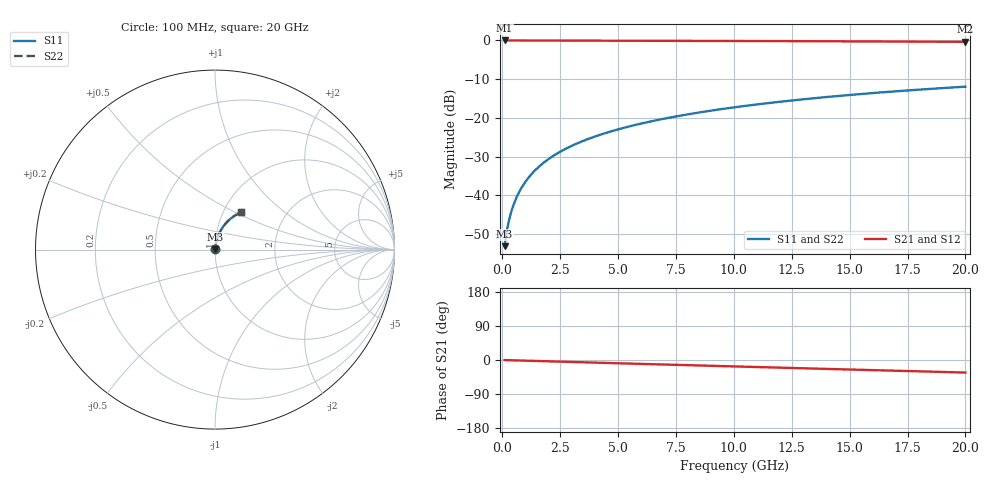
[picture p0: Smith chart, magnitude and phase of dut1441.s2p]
! Touchstone file exported from HFSS 2026.1.0
!  File:  C:/ffzhzh/LocalFiles/Ansys_Project_Files/temp_train_TMRDL_1441_1783167033_22436.aedt
!  Generated:  08:11:50 PM Jul  4, 2026
!  Design:  TMRDL
!  Project:  temp_train_TMRDL_1441_1783167033_22436
! Variables:
!  h_bsmrdl = 2um
!  h_ox = 20um
!  h_rdl = 5um
!  h_sub = 80um
!  h_tmrdl = 5.53um
!  h_tsv = 80um
!  h_via = 3um
!  l_bsmrdl = 300um
!  l_sub = 906.97um
!  l_tmrdl = 506.97um
!  m_sub = 200um
!  pitch = 46.92um
!  r_tsv = 6um
!  s_tmrdl = 10um
!  w_bsmrdl = 18um
!  w_sub = 500um
!  w_tmrdl = 25.4um
!  x_tsv_center1 = 519.67um
!  x_tsv_center2 = 837.67um
!  x_tsv_center3 = 1370.04um
!  x_tsv_center4 = 1688.04um
!  x_tsv_center5 = 2220.41um
!  x_tsv_center6 = 2538.41um
# GHz S MA R 50.000000
! Terminal data exported
! Port[1] = TM_RDL1_1_T1
! Port[2] = TM_RDL1_1_T2
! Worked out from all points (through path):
!   200 points, 100 MHz to 20 GHz, reference 50 ohm
!   highest |S21| = -0.01 dB at 100 MHz (marker M1); lowest = -0.4 dB at 20 GHz (marker M2)
!   group delay of S21, straight-line fit = 4.59 ps
!   lowest |S11| = -53.1 dB at 100 MHz (marker M3), VSWR 1.00, Z = 50.1 + j0.165 ohm
!   |S11| at or under -10 dB: start of sweep to end of sweep
!   |S22| runs from -53.1 to -11.9 dB; largest |S21 - S12| = 2.1e-15
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0.1  0.002209 48.2  0.9985 -0.2  0.9985 -0.2  0.002209 48.2
! Gamma 0 0 0 0
! Port Impedance 50 0 50 0
0.2  0.003549 62.9  0.9984 -0.4  0.9984 -0.4  0.003549 62.8
0.3  0.004928 69.5  0.9983 -0.5  0.9983 -0.5  0.004928 69.5
0.4  0.006331 73.3  0.9982 -0.7  0.9982 -0.7  0.006331 73.3
0.5  0.007753 75.8  0.9982 -0.9  0.9982 -0.9  0.007753 75.8
0.6  0.009188 77.5  0.9981 -1.1  0.9981 -1.1  0.009188 77.5
0.8  0.01208 79.6  0.998 -1.4  0.998 -1.4  0.01208 79.6
1.1  0.01644 81.0  0.9978 -1.9  0.9978 -1.9  0.01644 81.0
1.3  0.01935 81.4  0.9977 -2.3  0.9977 -2.3  0.01935 81.4
1.5  0.02225 81.6  0.9975 -2.6  0.9975 -2.6  0.02225 81.6
1.8  0.02658 81.7  0.9972 -3.2  0.9972 -3.2  0.02658 81.7
2.1  0.03088 81.5  0.9969 -3.7  0.9969 -3.7  0.03088 81.5
2.7  0.03939 81.0  0.9962 -4.7  0.9962 -4.7  0.03939 81.0
3.5  0.05057 80.0  0.9952 -6.1  0.9952 -6.1  0.05057 79.9
4.2  0.06021 79.0  0.9943 -7.3  0.9943 -7.3  0.06021 79.0
5  0.07109 77.9  0.9931 -8.6  0.9931 -8.6  0.07109 77.8
6.8  0.09516 75.2  0.9902 -11.6  0.9902 -11.6  0.09516 75.2
8.3  0.1148 73.0  0.9876 -14.1  0.9876 -14.1  0.1148 73.0
10.1  0.1379 70.2  0.9841 -17.1  0.9841 -17.1  0.1379 70.2
13.4  0.1787 65.2  0.9767 -22.5  0.9767 -22.5  0.1787 65.1
16.7  0.2171 60.1  0.9682 -27.9  0.9682 -27.9  0.2171 60.0
20  0.2528 55.0  0.959 -33.1  0.959 -33.1  0.2528 55.0
